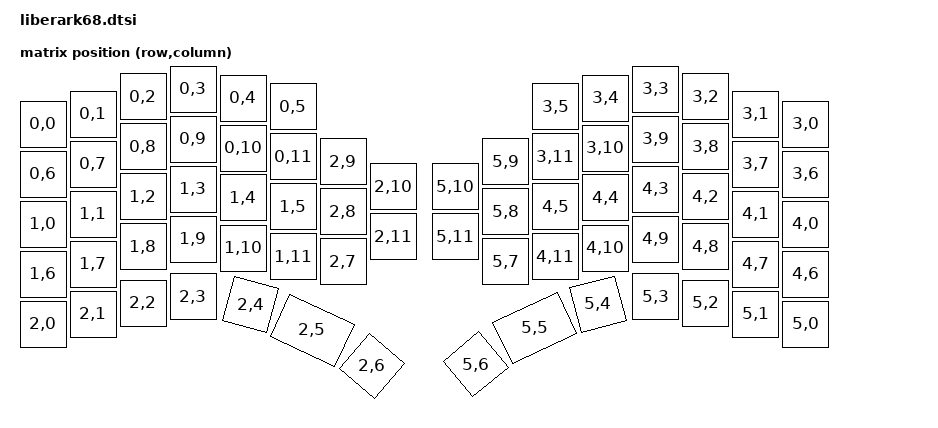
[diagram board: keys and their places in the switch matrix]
/*
 * LiberArk68 - shared devicetree fragments (matrix transform + physical layout).
 *
 * Logical combined matrix is 6x12: rows 0..2 are the LEFT half, rows 3..5 are
 * the RIGHT half. Each side scans its own local 3x12 matrix; the right side's
 * overlay applies row-offset=3 so its keys land in the right slice.
 *
 * Bindings/key order (72 total): L row 0 cols 0..11, R row 0 cols 0..11,
 * L row 1 cols 0..11, R row 1 cols 0..11, L row 2 cols 0..9, R row 2 cols 0..9,
 * then the four encoder push-switches appended last (positions 68..71):
 * L (2,10), L (2,11), R (5,10), R (5,11).
 */

#include <dt-bindings/zmk/matrix_transform.h>
#include <physical_layouts.dtsi>
#include "liberark68_encoders.dtsi"

/ {
    chosen {
        /* zmk,matrix-transform is sourced from the physical-layout's */
        /* `transform` property; ZMK Studio's build assertion rejects it here. */
        zmk,physical-layout = &default_physical_layout;
    };

    default_transform: keymap_transform_0 {
        compatible = "zmk,matrix-transform";
        columns = <12>;
        rows = <6>;
        map = <
RC(0,0) RC(0,1) RC(0,2) RC(0,3) RC(0,4) RC(0,5) RC(0,6) RC(0,7) RC(0,8) RC(0,9) RC(0,10) RC(0,11)   RC(3,0) RC(3,1) RC(3,2) RC(3,3) RC(3,4) RC(3,5) RC(3,6) RC(3,7) RC(3,8) RC(3,9) RC(3,10) RC(3,11)
RC(1,0) RC(1,1) RC(1,2) RC(1,3) RC(1,4) RC(1,5) RC(1,6) RC(1,7) RC(1,8) RC(1,9) RC(1,10) RC(1,11)   RC(4,0) RC(4,1) RC(4,2) RC(4,3) RC(4,4) RC(4,5) RC(4,6) RC(4,7) RC(4,8) RC(4,9) RC(4,10) RC(4,11)
RC(2,0) RC(2,1) RC(2,2) RC(2,3) RC(2,4) RC(2,5) RC(2,6) RC(2,7) RC(2,8) RC(2,9)                     RC(5,0) RC(5,1) RC(5,2) RC(5,3) RC(5,4) RC(5,5) RC(5,6) RC(5,7) RC(5,8) RC(5,9)
RC(2,10) RC(2,11)   RC(5,10) RC(5,11)
        >;
    };

    /*
     * Physical layout for ZMK Studio rendering. Positions are converted from
     * the LiberArk68 KLE (column-staggered with rotated thumb cluster).
     * Values: w/h/x/y in 1/100 keyunit (1u = 100), rotation in 1/100 degree.
     * Entry order matches the matrix-transform map above.
     */
    default_physical_layout: physical_layout_0 {
        compatible = "zmk,physical-layout";
        display-name = "LiberArk68";
        transform = <&default_transform>;
        keys
            /* row 0 L */
            = <&key_physical_attrs  100  100     0    70      0    0    0>  /* (0,0) ESC */
            , <&key_physical_attrs  100  100   100    50      0    0    0>  /* (1,0) 1 */
            , <&key_physical_attrs  100  100   200    15      0    0    0>  /* (2,0) 2 */
            , <&key_physical_attrs  100  100   300     0      0    0    0>  /* (3,0) 3 */
            , <&key_physical_attrs  100  100   400    18      0    0    0>  /* (4,0) 4 */
            , <&key_physical_attrs  100  100   500    35      0    0    0>  /* (5,0) 5 */
            , <&key_physical_attrs  100  100     0   170      0    0    0>  /* (6,0) Tab */
            , <&key_physical_attrs  100  100   100   150      0    0    0>  /* (7,0) Q */
            , <&key_physical_attrs  100  100   200   115      0    0    0>  /* (8,0) W */
            , <&key_physical_attrs  100  100   300   100      0    0    0>  /* (9,0) E */
            , <&key_physical_attrs  100  100   400   118      0    0    0>  /* (10,0) R */
            , <&key_physical_attrs  100  100   500   135      0    0    0>  /* (11,0) T */
            /* row 0 R */
            , <&key_physical_attrs  100  100  1525    70      0    0    0>  /* (0,0) Bksp */
            , <&key_physical_attrs  100  100  1425    50      0    0    0>  /* (1,0) 0 */
            , <&key_physical_attrs  100  100  1325    15      0    0    0>  /* (2,0) 9 */
            , <&key_physical_attrs  100  100  1225     0      0    0    0>  /* (3,0) 8 */
            , <&key_physical_attrs  100  100  1125    18      0    0    0>  /* (4,0) 7 */
            , <&key_physical_attrs  100  100  1025    35      0    0    0>  /* (5,0) 6 */
            , <&key_physical_attrs  100  100  1525   170      0    0    0>  /* (6,0) \ */
            , <&key_physical_attrs  100  100  1425   150      0    0    0>  /* (7,0) P */
            , <&key_physical_attrs  100  100  1325   115      0    0    0>  /* (8,0) O */
            , <&key_physical_attrs  100  100  1225   100      0    0    0>  /* (9,0) I */
            , <&key_physical_attrs  100  100  1125   118      0    0    0>  /* (10,0) U */
            , <&key_physical_attrs  100  100  1025   135      0    0    0>  /* (11,0) Y */
            /* row 1 L */
            , <&key_physical_attrs  100  100     0   270      0    0    0>  /* (0,1) Layer 4 */
            , <&key_physical_attrs  100  100   100   250      0    0    0>  /* (1,1) A */
            , <&key_physical_attrs  100  100   200   215      0    0    0>  /* (2,1) S */
            , <&key_physical_attrs  100  100   300   200      0    0    0>  /* (3,1) D */
            , <&key_physical_attrs  100  100   400   217      0    0    0>  /* (4,1) F */
            , <&key_physical_attrs  100  100   500   235      0    0    0>  /* (5,1) G */
            , <&key_physical_attrs  100  100     0   370      0    0    0>  /* (6,1) Shift */
            , <&key_physical_attrs  100  100   100   350      0    0    0>  /* (7,1) Z */
            , <&key_physical_attrs  100  100   200   315      0    0    0>  /* (8,1) X */
            , <&key_physical_attrs  100  100   300   300      0    0    0>  /* (9,1) C */
            , <&key_physical_attrs  100  100   400   318      0    0    0>  /* (10,1) V */
            , <&key_physical_attrs  100  100   500   335      0    0    0>  /* (11,1) B */
            /* row 1 R */
            , <&key_physical_attrs  100  100  1525   270      0    0    0>  /* (0,1) ' */
            , <&key_physical_attrs  100  100  1425   250      0    0    0>  /* (1,1) ; */
            , <&key_physical_attrs  100  100  1325   215      0    0    0>  /* (2,1) L */
            , <&key_physical_attrs  100  100  1225   200      0    0    0>  /* (3,1) K */
            , <&key_physical_attrs  100  100  1125   217      0    0    0>  /* (4,1) J */
            , <&key_physical_attrs  100  100  1025   235      0    0    0>  /* (5,1) H */
            , <&key_physical_attrs  100  100  1525   370      0    0    0>  /* (6,1) Enter */
            , <&key_physical_attrs  100  100  1425   350      0    0    0>  /* (7,1) ? */
            , <&key_physical_attrs  100  100  1325   315      0    0    0>  /* (8,1) . */
            , <&key_physical_attrs  100  100  1225   300      0    0    0>  /* (9,1) , */
            , <&key_physical_attrs  100  100  1125   318      0    0    0>  /* (10,1) M */
            , <&key_physical_attrs  100  100  1025   335      0    0    0>  /* (11,1) N */
            /* row 2 L */
            , <&key_physical_attrs  100  100     0   470      0    0    0>  /* (0,2) Ctrl */
            , <&key_physical_attrs  100  100   100   450      0    0    0>  /* (1,2) Alt */
            , <&key_physical_attrs  100  100   200   428      0    0    0>  /* (2,2) Hyper */
            , <&key_physical_attrs  100  100   300   415      0    0    0>  /* (3,2) F12 */
            , <&key_physical_attrs  100  100   430   420   1500  430  420>  /* (4,2) Layer 2 */
            , <&key_physical_attrs  150  100   555   445   2500  525  420>  /* (5,2) Space */
            , <&key_physical_attrs  100  100   745   575   4000  780  495>  /* (6,2) Enter */
            , <&key_physical_attrs  100  100   600   345      0    0    0>  /* (7,2) ` */
            , <&key_physical_attrs  100  100   600   245      0    0    0>  /* (8,2) [ */
            , <&key_physical_attrs  100  100   600   145      0    0    0>  /* (9,2) - */
            /* row 2 R */
            , <&key_physical_attrs  100  100  1525   470      0    0    0>  /* (0,2) Right */
            , <&key_physical_attrs  100  100  1425   450      0    0    0>  /* (1,2) Down */
            , <&key_physical_attrs  100  100  1325   428      0    0    0>  /* (2,2) Up */
            , <&key_physical_attrs  100  100  1225   415      0    0    0>  /* (3,2) Left */
            , <&key_physical_attrs  100  100  1099   445 (-1500) 1099  445>  /* (4,2) Layer 3 */
            , <&key_physical_attrs  150  100   940   525 (-2500)  918  510>  /* (5,2) Space */
            , <&key_physical_attrs  100  100   825   620 (-4000)  800  580>  /* (6,2) Enter */
            , <&key_physical_attrs  100  100   925   345      0    0    0>  /* (7,2) F11 */
            , <&key_physical_attrs  100  100   925   245      0    0    0>  /* (8,2) ] */
            , <&key_physical_attrs  100  100   925   145      0    0    0>  /* (9,2) = */
            /* encoder push-switches: L top, L bottom, R top, R bottom */
            , <&key_physical_attrs  100  100   700   195      0    0    0>  /* (2,10) L enc-top  Play/Pause */
            , <&key_physical_attrs  100  100   700   295      0    0    0>  /* (2,11) L enc-bot  Mute */
            , <&key_physical_attrs  100  100   825   195      0    0    0>  /* (5,10) R enc-top  Next */
            , <&key_physical_attrs  100  100   825   295      0    0    0>  /* (5,11) R enc-bot  Prev */
            ;
    };
};
